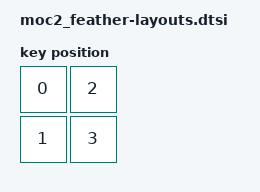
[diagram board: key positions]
#include <physical_layouts.dtsi>

/ {
	physical_layout0: physical_layout_0 {
		compatible = "zmk,physical-layout";
		display-name = "Default";
		transform = <&matrix_transform0>;
		 
		     //                     w   h    x    y     rot    rx    ry
		keys = <&key_physical_attrs 100 100  100  100       0     0     0>
		     , <&key_physical_attrs 100 100  100  200       0     0     0>
		     , <&key_physical_attrs 100 100  200  100       0     0     0>
		     , <&key_physical_attrs 100 100  200  200       0     0     0>
		     ;
	};
};
